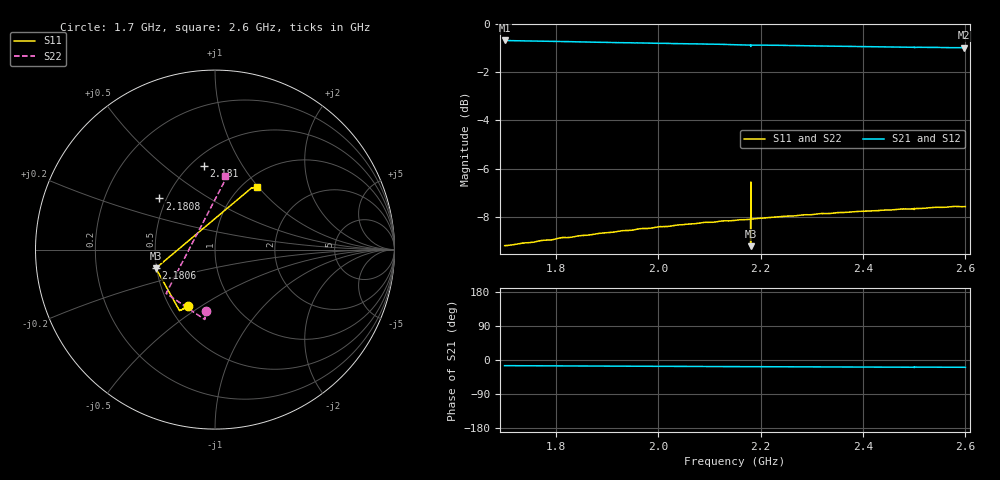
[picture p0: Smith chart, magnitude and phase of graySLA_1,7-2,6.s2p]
!Created with skrf (http://scikit-rf.org).
# GHz S RI R 50.0
!freq ReS11 ImS11 ReS21 ImS21 ReS12 ImS12 ReS22 ImS22
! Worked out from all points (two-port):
!   5001 points, 1.7 GHz to 2.6 GHz, reference 50 ohm
!   highest |S21| = -0.67 dB at 1.7 GHz (marker M1); lowest = -1.0 dB at 2.5973 GHz (marker M2)
!   |S21| within 3 dB of the highest: start of sweep to end of sweep
!   lowest |S11| = -9.2 dB at 2.1806 GHz (marker M3), VSWR 2.06, Z = 24.8 - j5.84 ohm
!   |S11| at or under -10 dB: nowhere
!   |S22| runs from -9.2 to -7.0 dB; largest |S21 - S12| = 0.013
!   S11 on the Smith chart (normalised r, x): 1.7 GHz: 0.62, -0.44; 2.1806 GHz: 0.50, -0.12; 2.1808 GHz: 0.46, +0.32; 2.181 GHz: 0.58, +0.69; 2.6 GHz: 1.16, +0.98
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1.7  -0.1483 -0.3131  0.8944 -0.2385  0.8961 -0.2354  -0.0514 -0.3435
1.85012  -0.1653 -0.3238  0.8843 -0.2507  0.8856 -0.2487  -0.0544 -0.3605
2.00006  -0.1814 -0.3329  0.8747 -0.262  0.8754 -0.2607  -0.0562 -0.3752
2.0915  -0.1908 -0.337  0.8687 -0.2705  0.8696 -0.2682  -0.057 -0.3832
2.15  -0.1959 -0.3385  0.865 -0.2729  0.8653 -0.2719  -0.0574 -0.3874
2.17592  -0.1974 -0.3395  0.8632 -0.2733  0.8643 -0.2737  -0.0575 -0.3891
2.1761  -0.1975 -0.3395  0.8631 -0.2735  0.8641 -0.2737  -0.0575 -0.389
2.17628  -0.1974 -0.3395  0.8632 -0.2733  0.8643 -0.2738  -0.0576 -0.389
2.17646  -0.1976 -0.3395  0.8633 -0.2735  0.8643 -0.274  -0.0576 -0.389
2.1806  -0.3296 -0.1038  0.8607 -0.2711  0.8619 -0.2716  -0.2723 -0.244
2.18078  -0.3098 0.2852  0.8566 -0.2733  0.8579 -0.2739  -0.4042 0.1057
2.18096  -0.0624 0.4659  0.8597 -0.2767  0.8609 -0.2774  -0.2402 0.3786
2.1851  0.1987 0.3399  0.8628 -0.2739  0.8638 -0.2742  0.058 0.3897
2.18528  0.1987 0.3399  0.8626 -0.274  0.864 -0.2745  0.0582 0.3898
2.18546  0.1987 0.3399  0.8627 -0.2739  0.8639 -0.2745  0.0581 0.3898
2.18564  0.1988 0.3399  0.8628 -0.2739  0.8639 -0.2744  0.0583 0.3899
2.30012  0.2095 0.3431  0.857 -0.2816  0.8571 -0.2822  0.059 0.3974
2.45006  0.2219 0.3459  0.8493 -0.2896  0.8493 -0.291  0.0592 0.4056
2.49578  0.2256 0.3463  0.8473 -0.2921  0.8471 -0.2938  0.059 0.408
2.50496  0.2246 0.3475  0.8479 -0.2884  0.8468 -0.292  0.0573 0.4084
2.5973  0.2322 0.347  0.8439 -0.2944  0.8425 -0.2969  0.0582 0.4121
2.6  0.2327 0.347  0.8437 -0.2953  0.8421 -0.2978  0.0579 0.4123
